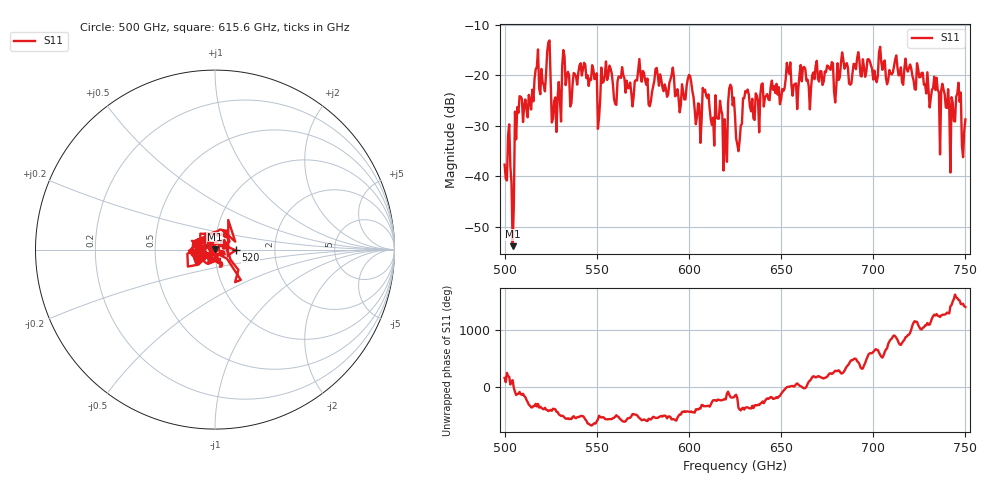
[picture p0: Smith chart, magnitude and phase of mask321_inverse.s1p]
!Created with skrf (http://scikit-rf.org).
# GHz S MA R 50.0
!freq magS11 angS11
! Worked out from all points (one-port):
!   401 points, 500 GHz to 750 GHz, reference 50 ohm
!   lowest |S11| = -53.8 dB at 504.4 GHz (marker M1), VSWR 1.00, Z = 49.9 + j0.18 ohm
!   |S11| at or under -10 dB: start of sweep to end of sweep
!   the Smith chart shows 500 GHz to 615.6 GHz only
!   S11 on the Smith chart (normalised r, x): 500 GHz: 0.98, +0.01; 520 GHz: 1.26, -0.01; 615.6 GHz: 0.94, +0.04
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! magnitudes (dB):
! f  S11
! 500 GHz  -37.6
! 504.4 GHz  -53.8
! 508.1 GHz  -24.1
! 520 GHz  -18.7
! 523.8 GHz  -13.4
! 526.9 GHz  -25.1
! 531.2 GHz  -18.1
! 548.8 GHz  -20.7
! 550.6 GHz  -30.6
! 562.5 GHz  -20.3
! 590.6 GHz  -19.9
! 593.8 GHz  -22.7
! 600 GHz  -19.9
! 605 GHz  -25.5
! 608.8 GHz  -22.8
! 612.5 GHz  -29.8
! 615.6 GHz  -28.6
! 619.4 GHz  -28.7
! 622.5 GHz  -21.8
! 625 GHz  -28.0
! 626.9 GHz  -35.0
! 630.6 GHz  -23.1
! 656.2 GHz  -24.0
! 687.5 GHz  -21.8
! 718.8 GHz  -19.2
! 743.1 GHz  -25.4
! 746.2 GHz  -21.4
! 750 GHz  -28.7
